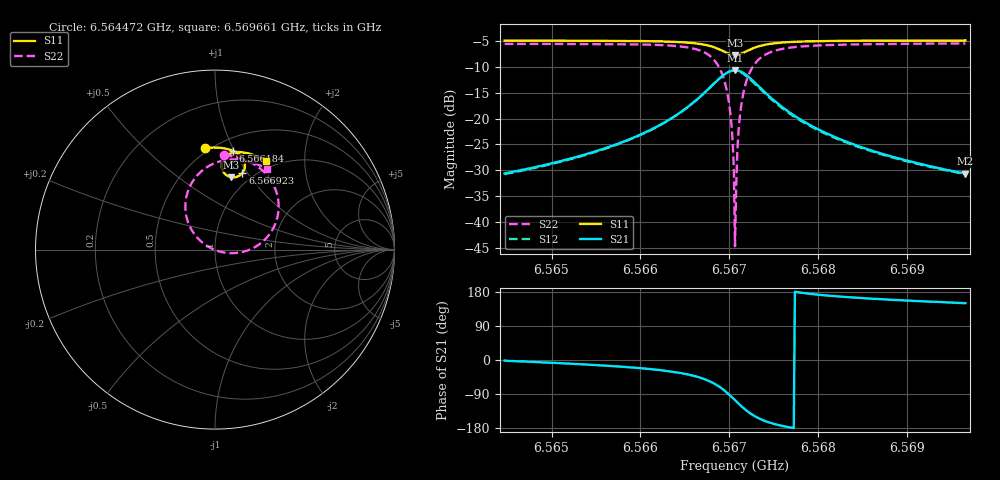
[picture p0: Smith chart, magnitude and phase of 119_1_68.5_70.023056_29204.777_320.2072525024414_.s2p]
#  HZ  S  RI  R  50.00
! Rohde & Schwarz Vector Network Analyzer
! Rohde-Schwarz,ZNB20-2Port,1311601062101988,3.16
! Created: UTC 3/20/2024, 4:53:53 PM
! freq[Hz]  re:S11  im:S11  re:S21  im:S21  re:S12  im:S12  re:S22  im:S22
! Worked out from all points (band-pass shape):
!   401 points, 6.564472 GHz to 6.569661 GHz, reference 50 ohm
!   highest |S21| = -10.64 dB at 6.567066 GHz (marker M1); lowest = -30.7 dB at 6.569661 GHz (marker M2)
!   |S21| within 3 dB of the highest: 6.566806 GHz to 6.567325 GHz (519.4 kHz wide, 0.00791 % of centre)
!   lowest |S11| = -7.7 dB at 6.567066 GHz (marker M3), VSWR 2.41, Z = 41.7 + j40.6 ohm
!   |S11| at or under -10 dB: nowhere
!   |S22| runs from -44.7 to -5.4 dB; largest |S21 - S12| = 0.015
!   S11 on the Smith chart (normalised r, x): 6.564472 GHz: 0.47, +0.79; 6.566184 GHz: 0.61, +0.99; 6.566923 GHz: 0.88, +0.95; 6.569661 GHz: 0.89, +1.31
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6.5644717e9  -0.0534 0.5669  0.0294 -0.000845  0.0288 -0.00143  0.0488 0.5263
6.5653408e9  0.0185 0.5677  0.0431 -0.00859  0.0423 -0.00916  0.1333 0.5112
6.566184e9  0.0993 0.5515  0.0749 -0.0362  0.0739 -0.037  0.2496 0.4531
6.56621e9  0.1021 0.5503  0.0767 -0.038  0.0756 -0.0389  0.2545 0.4494
6.5667159e9  0.1619 0.4947  0.1127 -0.1344  0.11 -0.1371  0.3538 0.2616
6.5668326e9  0.1663 0.4607  0.1016 -0.194  0.0963 -0.1977  0.3374 0.1476
6.5669234e9  0.1532 0.4276  0.0612 -0.2504  0.0523 -0.2536  0.2635 0.0425
6.5670013e9  0.1227 0.4056  -0.00804 -0.2851  -0.0204 -0.2844  0.1355 -0.0165
6.5670272e9  0.1091 0.4026  -0.037 -0.2884  -0.0499 -0.2854  0.0832 -0.0197
6.5670402e9  0.1019 0.402  -0.0517 -0.288  -0.0648 -0.2837  0.0565 -0.0171
6.5670532e9  0.0949 0.4025  -0.0667 -0.2861  -0.0796 -0.2806  0.0302 -0.012
6.5670661e9  0.0878 0.4038  -0.0814 -0.2824  -0.094 -0.276  0.00441 -0.00377
6.5670921e9  0.0741 0.4085  -0.1093 -0.2712  -0.121 -0.2626  -0.0435 0.0199
6.5671051e9  0.0679 0.4119  -0.1223 -0.2636  -0.1329 -0.2542  -0.0651 0.0349
6.567118e9  0.0622 0.4158  -0.1341 -0.2551  -0.144 -0.2446  -0.0846 0.0518
6.567144e9  0.0524 0.4255  -0.1546 -0.2352  -0.1625 -0.2236  -0.1173 0.0894
6.5671959e9  0.0404 0.4477  -0.1811 -0.1905  -0.185 -0.1784  -0.1561 0.1714
6.5672607e9  0.038 0.4751  -0.1912 -0.1372  -0.1912 -0.1263  -0.164 0.2658
6.5675072e9  0.0762 0.5303  -0.1465 -0.0289  -0.1433 -0.0243  -0.0612 0.4482
6.5679353e9  0.1392 0.5435  -0.0837 0.00879  -0.0818 0.0101  0.0788 0.5014
6.5688044e9  0.2221 0.5244  -0.0408 0.0154  -0.0398 0.0157  0.2102 0.4849
6.5696606e9  0.2864 0.4941  -0.0253 0.0147  -0.0249 0.0149  0.2876 0.4501
